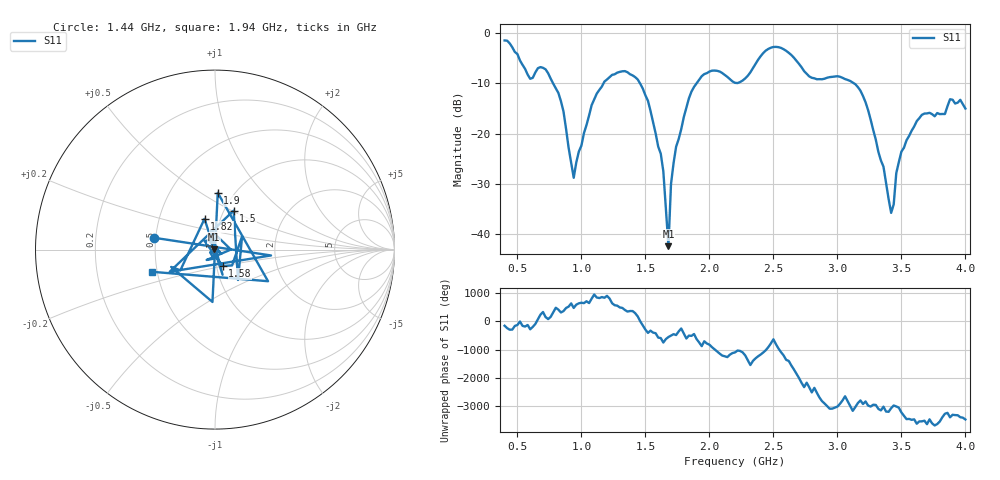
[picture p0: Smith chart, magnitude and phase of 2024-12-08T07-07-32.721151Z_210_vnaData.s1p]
!Created with skrf (http://scikit-rf.org).
# Hz S RI R 50.0
!freq ReS11 ImS11
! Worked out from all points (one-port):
!   181 points, 400 MHz to 4 GHz, reference 50 ohm
!   lowest |S11| = -42.4 dB at 1.68 GHz (marker M1), VSWR 1.02, Z = 49.3 + j0.246 ohm
!   |S11| at or under -10 dB: 779.1 MHz to 1.172 GHz (393.3 MHz wide, 40.3 % of centre); 1.458 GHz to 1.899 GHz (441 MHz wide, 26.3 % of centre); 3.131 GHz to end of sweep
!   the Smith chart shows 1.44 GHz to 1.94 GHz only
!   S11 on the Smith chart (normalised r, x): 1.44 GHz: 0.49, +0.07; 1.5 GHz: 1.11, +0.51; 1.58 GHz: 1.07, -0.20; 1.82 GHz: 0.84, +0.30; 1.9 GHz: 0.84, +0.59; 1.94 GHz: 0.47, -0.13
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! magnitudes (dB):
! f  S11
! 400 MHz  -1.4
! 600 MHz  -9.1
! 720 MHz  -7.2
! 860 MHz  -15.6
! 940 MHz  -28.8
! 1.08 GHz  -14.3
! 1.3 GHz  -7.7
! 1.44 GHz  -9.2
! 1.5 GHz  -12.4
! 1.58 GHz  -20.0
! 1.64 GHz  -27.5
! 1.68 GHz  -42.4
! 1.7 GHz  -30.0
! 1.76 GHz  -21.1
! 1.82 GHz  -14.8
! 1.9 GHz  -10.0
! 1.94 GHz  -8.6
! 2.2 GHz  -9.9
! 2.48 GHz  -2.9
! 2.66 GHz  -4.9
! 2.8 GHz  -8.9
! 3.1 GHz  -9.5
! 3.24 GHz  -15.3
! 3.42 GHz  -35.8
! 3.48 GHz  -25.7
! 3.56 GHz  -20.5
! 3.88 GHz  -13.1
! 4 GHz  -15.0
